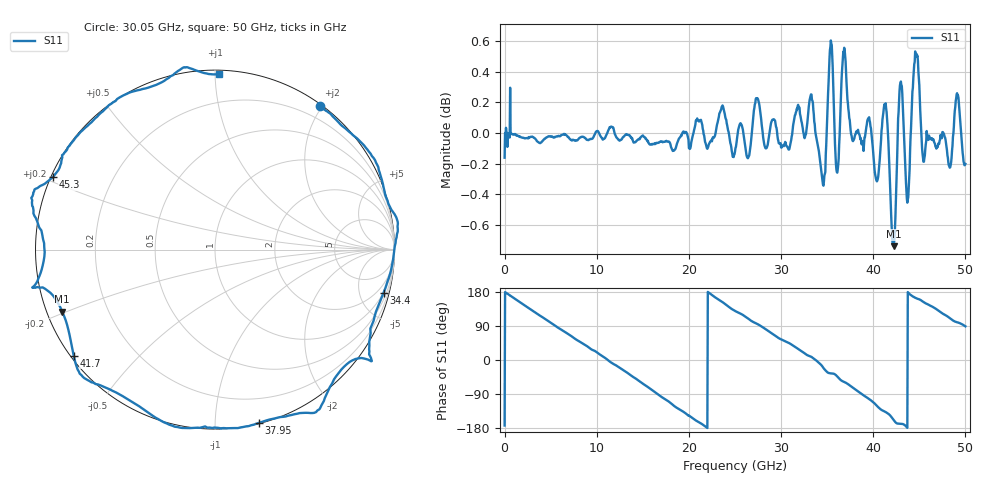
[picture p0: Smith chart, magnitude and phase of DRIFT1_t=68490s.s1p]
!Created with skrf (http://scikit-rf.org).
# Hz S RI R 50.0
!freq ReS11 ImS11
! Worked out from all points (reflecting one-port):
!   1001 points, 300 kHz to 50 GHz, reference 50 ohm
!   lowest |S11| = -0.7 dB at 42.2 GHz (marker M1), VSWR 23.52, Z = 2.21 - j9.73 ohm
!   phase of S11 starts at -173 deg and turns -818 deg over the sweep
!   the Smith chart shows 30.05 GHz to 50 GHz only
!   S11 on the Smith chart (normalised r, x): 30.05 GHz: 0.03, +1.97; 34.4 GHz: 0.98, -7.86; 37.95 GHz: 0.01, -1.29; 41.7 GHz: 0.01, -0.33; 45.3 GHz: 0.01, +0.21; 50 GHz: 0.02, +1.02
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300000  -0.9742 -0.1202
1.450291e9  -0.9125 0.4041
3.25028e9  -0.5931 0.8003
6.250262e9  0.199 0.9787
9.500243e9  0.8879 0.4505
1.250022e10  0.9305 -0.3518
1.580021e10  0.2421 -0.9612
1.73502e10  -0.2109 -0.9707
1.875019e10  -0.5985 -0.7923
2.160017e10  -0.9897 -0.1353
2.345016e10  -0.93 0.4124
2.500015e10  -0.6277 0.7605
2.745014e10  -0.0835 1.023
3.005012e10  0.5839 0.7983
3.125011e10  0.7818 0.6275
3.32001e10  1.015 0.1637
3.440009e10  0.9397 -0.2391
3.520009e10  0.8645 -0.5941
3.750008e10  0.3792 -0.9317
3.795007e10  0.2451 -0.9654
3.960006e10  -0.2372 -0.9813
4.170005e10  -0.7872 -0.5911
4.220005e10  -0.8511 -0.3451
4.290004e10  -1.015 -0.2107
4.375004e10  -0.9513 0.0119
4.530003e10  -0.9014 0.4058
4.765001e10  -0.5132 0.8578
5e10  0.0196 0.9769
